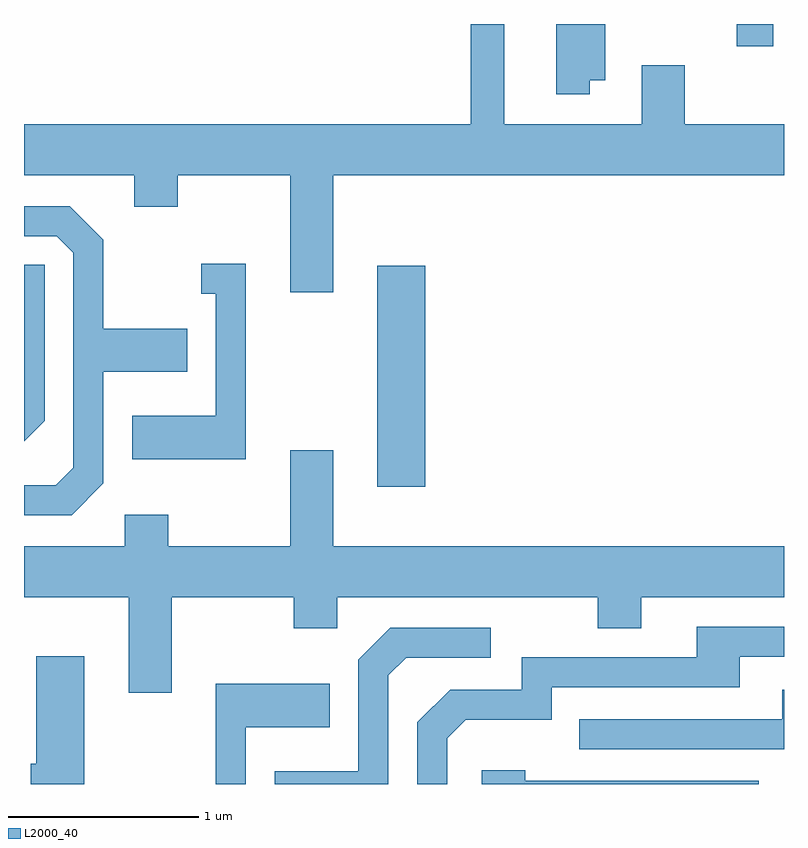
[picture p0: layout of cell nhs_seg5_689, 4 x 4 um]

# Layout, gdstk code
import gdstk
lib = gdstk.Library(unit=1e-6, precision=1e-09)
def R(c, l, rs):  # rectangles x0, y0, x1, y1
    for r in rs: c.add(gdstk.rectangle(r[:2], r[2:], *l))
def P(c, l, *ps):  # polygons
    for p in ps: c.add(gdstk.Polygon(p, *l))
L2000_40 = (2000, 40)

nhs_seg5_689 = lib.new_cell('nhs_seg5_689')
R(nhs_seg5_689, L2000_40, [(207.471,1419.636,207.724,1420.799), (209.361,1421.956,209.554,1422.072)])
P(nhs_seg5_689, L2000_40, [(207.239,1421.276),(209.611,1421.276),(209.611,1421.544),(209.089,1421.544),(209.089,1421.854),(208.861,1421.854),(208.861,1421.544),(208.139,1421.544),(208.139,1422.072),(207.961,1422.072),(207.961,1421.544),(205.611,1421.544),(205.611,1421.276),(206.191,1421.276),(206.191,1421.111),(206.419,1421.111),(206.419,1421.276),(207.011,1421.276),(207.011,1420.661),(207.239,1420.661)],
  [(208.589,1421.776),(208.669,1421.776),(208.669,1422.072),(208.411,1422.072),(208.411,1421.701),(208.589,1421.701)],
  [(206.029,1419.654),(206.029,1420.241),(206.469,1420.241),(206.469,1420.469),(206.029,1420.469),(206.029,1420.937),(205.852,1421.114),(205.611,1421.114),(205.611,1420.956),(205.784,1420.956),(205.871,1420.869),(205.871,1419.737),(205.779,1419.644),(205.611,1419.644),(205.611,1419.486),(205.862,1419.486)],
  [(206.779,1420.809),(206.543,1420.809),(206.543,1420.651),(206.621,1420.651),(206.621,1420.009),(206.181,1420.009),(206.181,1419.781),(206.779,1419.781)],
  [(205.719,1419.984),(205.719,1420.804),(205.611,1420.804),(205.611,1419.875)],
  [(206.389,1419.056),(207.031,1419.056),(207.031,1418.891),(207.259,1418.891),(207.259,1419.056),(208.631,1419.056),(208.631,1418.891),(208.859,1418.891),(208.859,1419.056),(209.611,1419.056),(209.611,1419.324),(207.239,1419.324),(207.239,1419.829),(207.011,1419.829),(207.011,1419.324),(206.369,1419.324),(206.369,1419.489),(206.141,1419.489),(206.141,1419.324),(205.611,1419.324),(205.611,1419.056),(206.161,1419.056),(206.161,1418.551),(206.389,1418.551)],
  [(207.839,1418.314),(207.937,1418.411),(208.389,1418.411),(208.389,1418.581),(209.379,1418.581),(209.379,1418.741),(209.611,1418.741),(209.611,1418.899),(209.151,1418.899),(209.151,1418.739),(208.231,1418.739),(208.231,1418.569),(207.854,1418.569),(207.681,1418.397),(207.681,1418.072),(207.839,1418.072)],
  [(207.529,1418.644),(207.622,1418.736),(208.068,1418.736),(208.068,1418.894),(207.539,1418.894),(207.371,1418.727),(207.371,1418.139),(206.931,1418.139),(206.931,1418.072),(207.529,1418.072)],
  [(205.929,1418.744),(205.676,1418.744),(205.676,1418.179),(205.646,1418.179),(205.646,1418.072),(205.929,1418.072)],
  [(206.779,1418.371),(207.219,1418.371),(207.219,1418.599),(206.621,1418.599),(206.621,1418.072),(206.779,1418.072)],
  [(209.611,1418.569),(209.601,1418.569),(209.601,1418.414),(208.533,1418.414),(208.533,1418.256),(209.611,1418.256)],
  [(209.479,1418.089),(208.249,1418.089),(208.249,1418.144),(208.021,1418.144),(208.021,1418.072),(209.479,1418.072)])

lib.write_gds('nhs_seg5_689.gds')
